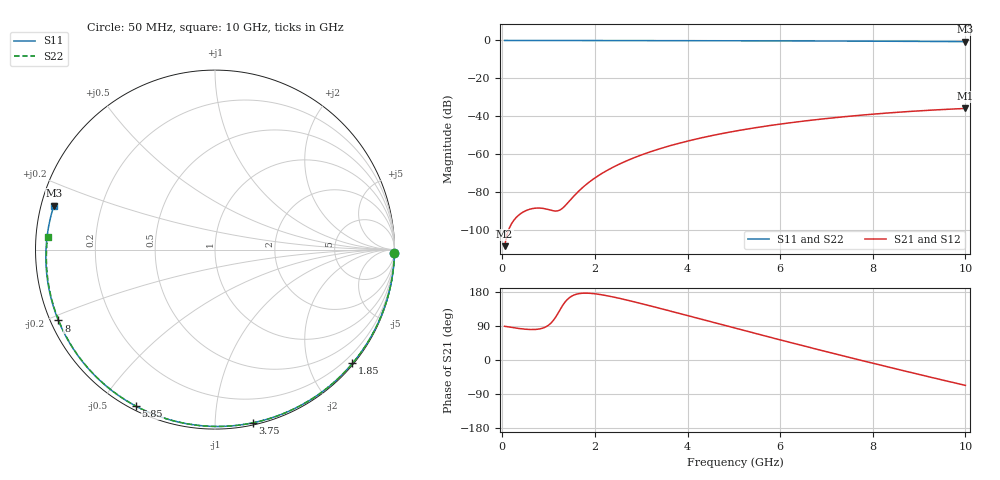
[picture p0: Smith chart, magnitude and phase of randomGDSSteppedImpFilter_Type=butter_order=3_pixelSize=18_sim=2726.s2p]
! freq	dB(S11)	phase(S11)	dB(S12)	phase(S12)
!  dB(S21)	phase(S21)	dB(S22)	phase(S22)
!S-par simulation data
#  GHz  S  DB  R 50
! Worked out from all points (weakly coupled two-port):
!   200 points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, 50 MHz to 10 GHz, reference 50 ohm
!   highest |S21| = -35.82 dB at 10 GHz (marker M1); lowest = -108.3 dB at 50 MHz (marker M2)
!   lowest |S11| = -0.6 dB at 10 GHz (marker M3), VSWR 27.78, Z = 1.83 + j6.71 ohm
!   |S11| at or under -10 dB: nowhere
!   |S22| runs from -0.6 to 0.0 dB; largest |S21 - S12| = 0
!   S11 on the Smith chart (normalised r, x): 50 MHz: open; 1.85 GHz: 0.03, -2.78; 3.75 GHz: 0.02, -1.24; 5.85 GHz: 0.02, -0.62; 8 GHz: 0.02, -0.22; 10 GHz: 0.04, +0.13
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0.05  -0.00 -1.1  -108.34 89.0  -108.34 89.0  -0.00 -1.1
0.4  -0.01 -8.7  -91.15 82.5  -91.15 82.5  -0.01 -8.7
0.8  -0.02 -17.4  -88.27 81.9  -88.27 81.9  -0.02 -17.2
1.6  -0.04 -34.4  -80.58 173.6  -80.58 173.6  -0.04 -34.1
1.65  -0.04 -35.4  -79.36 175.0  -79.36 175.0  -0.04 -35.1
1.75  -0.05 -37.5  -77.13 176.3  -77.13 176.3  -0.05 -37.2
1.85  -0.05 -39.6  -75.11 176.3  -75.11 176.3  -0.05 -39.2
2.15  -0.06 -45.8  -70.05 172.1  -70.05 172.1  -0.06 -45.4
2.5  -0.07 -53.0  -65.45 163.5  -65.45 163.5  -0.07 -52.4
2.9  -0.08 -61.1  -61.25 152.0  -61.25 152.0  -0.08 -60.4
3.4  -0.09 -71.0  -57.04 136.4  -57.04 136.4  -0.09 -70.1
3.75  -0.11 -77.8  -54.58 125.3  -54.58 125.3  -0.10 -76.7
4.4  -0.13 -90.1  -50.76 104.3  -50.76 104.3  -0.13 -88.7
5.05  -0.16 -102.2  -47.66 83.4  -47.66 83.4  -0.15 -100.3
5.85  -0.20 -116.8  -44.56 57.9  -44.56 57.9  -0.19 -114.2
6.7  -0.26 -132.1  -41.92 31.2  -41.92 31.2  -0.25 -128.5
7.35  -0.31 -143.8  -40.25 11.2  -40.25 11.2  -0.30 -139.3
8  -0.37 -155.7  -38.83 -8.5  -38.83 -8.5  -0.36 -150.1
8.35  -0.41 -162.2  -38.16 -18.9  -38.16 -18.9  -0.39 -155.9
9.2  -0.51 -178.7  -36.78 -44.0  -36.78 -44.0  -0.48 -170.3
9.6  -0.57 173.2  -36.26 -55.6  -36.26 -55.6  -0.53 -177.3
10  -0.63 164.7  -35.82 -67.0  -35.82 -67.0  -0.58 175.6
